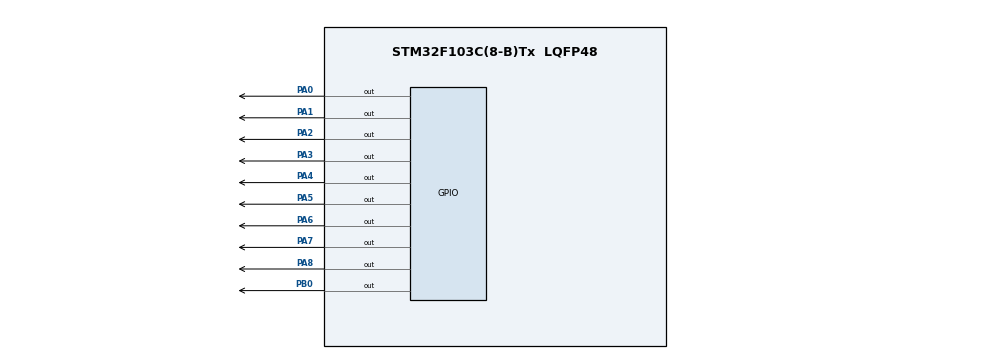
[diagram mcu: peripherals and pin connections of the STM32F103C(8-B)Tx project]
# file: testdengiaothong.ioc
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Mcu.Family=STM32F1
Mcu.Name=STM32F103C(8-B)Tx
Mcu.Package=LQFP48
NVIC.PriorityGroup=NVIC_PRIORITYGROUP_4
PA0-WKUP.GPIO_ModeDefaultOutputPP=GPIO_MODE_OUTPUT_PP
PA0-WKUP.GPIO_PuPd=GPIO_NOPULL
PA0-WKUP.GPIO_Speed=GPIO_SPEED_FREQ_HIGH
PA0-WKUP.PinState=GPIO_PIN_RESET
PA0-WKUP.Signal=GPIO_Output
PA1.GPIO_ModeDefaultOutputPP=GPIO_MODE_OUTPUT_PP
PA1.GPIO_PuPd=GPIO_NOPULL
PA1.GPIO_Speed=GPIO_SPEED_FREQ_HIGH
PA1.PinState=GPIO_PIN_RESET
PA1.Signal=GPIO_Output
PA2.GPIO_ModeDefaultOutputPP=GPIO_MODE_OUTPUT_PP
PA2.GPIO_PuPd=GPIO_NOPULL
PA2.GPIO_Speed=GPIO_SPEED_FREQ_HIGH
PA2.PinState=GPIO_PIN_RESET
PA2.Signal=GPIO_Output
PA3.GPIO_ModeDefaultOutputPP=GPIO_MODE_OUTPUT_PP
PA3.GPIO_PuPd=GPIO_NOPULL
PA3.GPIO_Speed=GPIO_SPEED_FREQ_HIGH
PA3.PinState=GPIO_PIN_RESET
PA3.Signal=GPIO_Output
PA4.GPIO_ModeDefaultOutputPP=GPIO_MODE_OUTPUT_PP
PA4.GPIO_PuPd=GPIO_NOPULL
PA4.GPIO_Speed=GPIO_SPEED_FREQ_HIGH
PA4.PinState=GPIO_PIN_RESET
PA4.Signal=GPIO_Output
PA5.GPIO_ModeDefaultOutputPP=GPIO_MODE_OUTPUT_PP
PA5.GPIO_PuPd=GPIO_NOPULL
PA5.GPIO_Speed=GPIO_SPEED_FREQ_HIGH
PA5.PinState=GPIO_PIN_RESET
PA5.Signal=GPIO_Output
PA6.GPIO_ModeDefaultOutputPP=GPIO_MODE_OUTPUT_PP
PA6.GPIO_PuPd=GPIO_NOPULL
PA6.GPIO_Speed=GPIO_SPEED_FREQ_HIGH
PA6.PinState=GPIO_PIN_RESET
PA6.Signal=GPIO_Output
PA7.GPIO_ModeDefaultOutputPP=GPIO_MODE_OUTPUT_PP
PA7.GPIO_PuPd=GPIO_NOPULL
PA7.GPIO_Speed=GPIO_SPEED_FREQ_HIGH
PA7.PinState=GPIO_PIN_RESET
PA7.Signal=GPIO_Output
PA8.Signal=GPIO_Output
PB0.GPIO_ModeDefaultOutputPP=GPIO_MODE_OUTPUT_PP
PB0.GPIO_PuPd=GPIO_NOPULL
PB0.GPIO_Speed=GPIO_SPEED_FREQ_HIGH
PB0.PinState=GPIO_PIN_RESET
PB0.Signal=GPIO_Output
PD0-OSC_IN.Mode=HSE-External-Oscillator
PD0-OSC_IN.Signal=RCC_OSC_IN
PD1-OSC_OUT.Mode=HSE-External-Oscillator
PD1-OSC_OUT.Signal=RCC_OSC_OUT
ProjectManager.HeapSize=0x200
ProjectManager.StackSize=0x400
ProjectManager.TargetToolchain=MDK-ARM V5.32
RCC.APB1Freq_Value=8000000
RCC.APB2Freq_Value=8000000
RCC.SYSCLKSource=RCC_SYSCLKSOURCE_HSE
VP_SYS_VS_ND.Mode=No_Debug
board=custom

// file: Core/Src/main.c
/* USER CODE BEGIN Header */
/**
  ******************************************************************************
  * @file           : main.c
  * @brief          : Main program body
  ******************************************************************************
  * @attention
  *
  * Copyright (c) 2024 STMicroelectronics.
  * All rights reserved.
  *
  * This software is licensed under terms that can be found in the LICENSE file
  * in the root directory of this software component.
  * If no LICENSE file comes with this software, it is provided AS-IS.
  *
  ******************************************************************************
  */
/* USER CODE END Header */
#include "main.h"

int16_t t;
/* USER CODE BEGIN PV */
void shiftout(int data){
	for(int i = 0; i < 8; i++){
		HAL_GPIO_WritePin(GPIOA, GPIO_PIN_6, data << i & 0x80);
		HAL_GPIO_WritePin(GPIOA, GPIO_PIN_7, GPIO_PIN_SET);
		HAL_GPIO_WritePin(GPIOA, GPIO_PIN_7, GPIO_PIN_RESET);

	}
}
/* USER CODE END PV */

void SystemClock_Config(void);
static void MX_GPIO_Init(void);

/* USER CODE BEGIN 0 */
void hienthi(int t1, int t2){
	unsigned char Code7Seg[] = {0xC0, 0xF9, 0xA4, 0xB0, 0x99, 0x92, 0x82, 0xF8, 0x80, 0x90};
	shiftout(Code7Seg[t2 % 10]);
	shiftout(Code7Seg[t2 / 10]);
	shiftout(Code7Seg[t1 % 10]);
	shiftout(Code7Seg[t1 / 10]);
	HAL_GPIO_WritePin(GPIOA, GPIO_PIN_8, GPIO_PIN_SET);
	HAL_GPIO_WritePin(GPIOA, GPIO_PIN_8, GPIO_PIN_RESET);

}
/* USER CODE END 0 */

int main(void)
{
		int t1, t2;

  /* MCU Configuration--------------------------------------------------------*/

  /* Reset of all peripherals, Initializes the Flash interface and the Systick. */
  HAL_Init();

  /* Configure the system clock */
  SystemClock_Config();

  /* Initialize all configured peripherals */
  MX_GPIO_Init();

  /* Infinite loop */
  while (1)
  {

    /* USER CODE BEGIN 3 */
				if(t >= 0 && t < 20){
			HAL_GPIO_WritePin(GPIOA, GPIO_PIN_0, GPIO_PIN_SET);
			HAL_GPIO_WritePin(GPIOA, GPIO_PIN_1, GPIO_PIN_RESET);
			HAL_GPIO_WritePin(GPIOA, GPIO_PIN_2, GPIO_PIN_RESET);
			HAL_GPIO_WritePin(GPIOA, GPIO_PIN_3, GPIO_PIN_RESET);
			HAL_GPIO_WritePin(GPIOA, GPIO_PIN_4, GPIO_PIN_RESET);
			HAL_GPIO_WritePin(GPIOA, GPIO_PIN_5, GPIO_PIN_SET);
  }
		if(t >= 20 && t < 23){
			HAL_GPIO_WritePin(GPIOA, GPIO_PIN_0, GPIO_PIN_RESET);
			HAL_GPIO_WritePin(GPIOA, GPIO_PIN_1, GPIO_PIN_SET);
			HAL_GPIO_WritePin(GPIOA, GPIO_PIN_2, GPIO_PIN_RESET);
			HAL_GPIO_WritePin(GPIOA, GPIO_PIN_3, GPIO_PIN_RESET);
			HAL_GPIO_WritePin(GPIOA, GPIO_PIN_4, GPIO_PIN_RESET);
			HAL_GPIO_WritePin(GPIOA, GPIO_PIN_5, GPIO_PIN_SET);
  }
		if(t >= 23 && t < 43){
			HAL_GPIO_WritePin(GPIOA, GPIO_PIN_0, GPIO_PIN_RESET);
			HAL_GPIO_WritePin(GPIOA, GPIO_PIN_1, GPIO_PIN_RESET);
			HAL_GPIO_WritePin(GPIOA, GPIO_PIN_2, GPIO_PIN_SET);
			HAL_GPIO_WritePin(GPIOA, GPIO_PIN_3, GPIO_PIN_SET);
			HAL_GPIO_WritePin(GPIOA, GPIO_PIN_4, GPIO_PIN_RESET);
			HAL_GPIO_WritePin(GPIOA, GPIO_PIN_5, GPIO_PIN_RESET);
  }
		if(t >= 43 && t < 46){
			HAL_GPIO_WritePin(GPIOA, GPIO_PIN_0, GPIO_PIN_RESET);
			HAL_GPIO_WritePin(GPIOA, GPIO_PIN_1, GPIO_PIN_RESET);
			HAL_GPIO_WritePin(GPIOA, GPIO_PIN_2, GPIO_PIN_SET);
			HAL_GPIO_WritePin(GPIOA, GPIO_PIN_3, GPIO_PIN_RESET);
			HAL_GPIO_WritePin(GPIOA, GPIO_PIN_4, GPIO_PIN_SET);
			HAL_GPIO_WritePin(GPIOA, GPIO_PIN_5, GPIO_PIN_RESET);
  }
		if(t == 0){
		t1 = 20;
		t2 = 23;
		}
		if(t == 20){
		t1 = 3;
		t2 = 3;
		}
		if(t == 23){
		t1 = 23;
		t2 = 20;
		}
		if(t == 43){
		t1 = 3;
		t2 = 3;
		}
		hienthi(t1, t2);
		t = t + 1;
		t1 = t1 - 1;
		t2 = t2 - 1;
		HAL_Delay(1000);
		if(t >= 46){
			t = 0;
		}

  }
  /* USER CODE END 3 */
}

void SystemClock_Config(void)
{
  RCC_OscInitTypeDef RCC_OscInitStruct = {0};
  RCC_ClkInitTypeDef RCC_ClkInitStruct = {0};

  /** Initializes the RCC Oscillators according to the specified parameters
  * in the RCC_OscInitTypeDef structure.
  */
  RCC_OscInitStruct.OscillatorType = RCC_OSCILLATORTYPE_HSE;
  RCC_OscInitStruct.HSEState = RCC_HSE_ON;
  RCC_OscInitStruct.PLL.PLLState = RCC_PLL_NONE;
  if (HAL_RCC_OscConfig(&RCC_OscInitStruct) != HAL_OK)
  {
    Error_Handler();
  }

  /** Initializes the CPU, AHB and APB buses clocks
  */
  RCC_ClkInitStruct.ClockType = RCC_CLOCKTYPE_HCLK|RCC_CLOCKTYPE_SYSCLK
                              |RCC_CLOCKTYPE_PCLK1|RCC_CLOCKTYPE_PCLK2;
  RCC_ClkInitStruct.SYSCLKSource = RCC_SYSCLKSOURCE_HSE;
  RCC_ClkInitStruct.AHBCLKDivider = RCC_SYSCLK_DIV1;
  RCC_ClkInitStruct.APB1CLKDivider = RCC_HCLK_DIV1;
  RCC_ClkInitStruct.APB2CLKDivider = RCC_HCLK_DIV1;

  if (HAL_RCC_ClockConfig(&RCC_ClkInitStruct, FLASH_LATENCY_0) != HAL_OK)
  {
    Error_Handler();
  }
}

static void MX_GPIO_Init(void)
{
  GPIO_InitTypeDef GPIO_InitStruct = {0};

  /* GPIO Ports Clock Enable */
  __HAL_RCC_GPIOD_CLK_ENABLE();
  __HAL_RCC_GPIOA_CLK_ENABLE();
  __HAL_RCC_GPIOB_CLK_ENABLE();

  /*Configure GPIO pin Output Level */
  HAL_GPIO_WritePin(GPIOA, GPIO_PIN_0|GPIO_PIN_1|GPIO_PIN_2|GPIO_PIN_3
                          |GPIO_PIN_4|GPIO_PIN_5|GPIO_PIN_6|GPIO_PIN_7
                          |GPIO_PIN_8, GPIO_PIN_RESET);

  /*Configure GPIO pin Output Level */
  HAL_GPIO_WritePin(GPIOB, GPIO_PIN_0, GPIO_PIN_RESET);

  /*Configure GPIO pins : PA0 PA1 PA2 PA3
                           PA4 PA5 PA6 PA7 */
  GPIO_InitStruct.Pin = GPIO_PIN_0|GPIO_PIN_1|GPIO_PIN_2|GPIO_PIN_3
                          |GPIO_PIN_4|GPIO_PIN_5|GPIO_PIN_6|GPIO_PIN_7;
  GPIO_InitStruct.Mode = GPIO_MODE_OUTPUT_PP;
  GPIO_InitStruct.Pull = GPIO_NOPULL;
  GPIO_InitStruct.Speed = GPIO_SPEED_FREQ_HIGH;
  HAL_GPIO_Init(GPIOA, &GPIO_InitStruct);

  /*Configure GPIO pin : PB0 */
  GPIO_InitStruct.Pin = GPIO_PIN_0;
  GPIO_InitStruct.Mode = GPIO_MODE_OUTPUT_PP;
  GPIO_InitStruct.Pull = GPIO_NOPULL;
  GPIO_InitStruct.Speed = GPIO_SPEED_FREQ_HIGH;
  HAL_GPIO_Init(GPIOB, &GPIO_InitStruct);

  /*Configure GPIO pin : PA8 */
  GPIO_InitStruct.Pin = GPIO_PIN_8;
  GPIO_InitStruct.Mode = GPIO_MODE_OUTPUT_PP;
  GPIO_InitStruct.Pull = GPIO_NOPULL;
  GPIO_InitStruct.Speed = GPIO_SPEED_FREQ_LOW;
  HAL_GPIO_Init(GPIOA, &GPIO_InitStruct);

}

void Error_Handler(void)
{
  __disable_irq();
  while (1)
  {
  }
}
